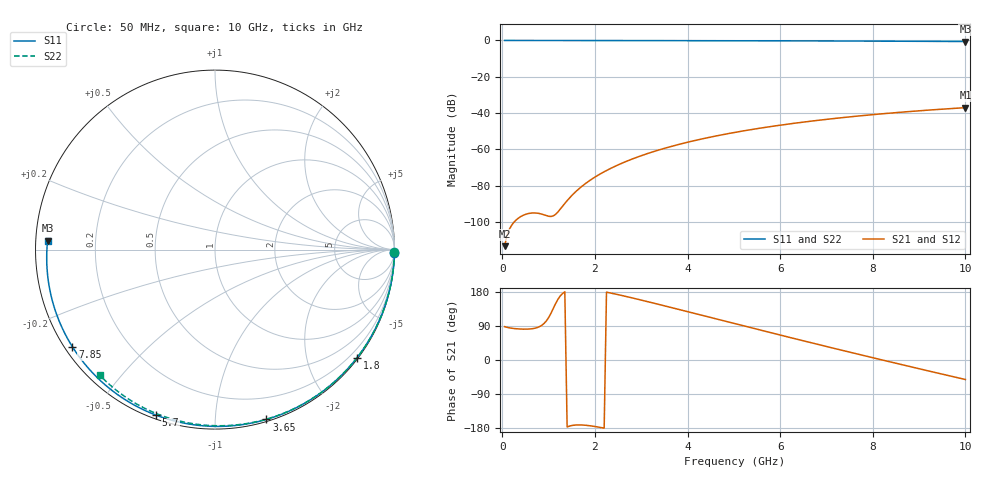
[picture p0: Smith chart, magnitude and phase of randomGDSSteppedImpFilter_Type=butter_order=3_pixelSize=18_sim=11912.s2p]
! freq	dB(S11)	phase(S11)	dB(S12)	phase(S12)
!  dB(S21)	phase(S21)	dB(S22)	phase(S22)
!S-par simulation data
#  GHz  S  DB  R 50
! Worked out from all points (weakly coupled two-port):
!   200 points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, 50 MHz to 10 GHz, reference 50 ohm
!   highest |S21| = -37.02 dB at 10 GHz (marker M1); lowest = -113.3 dB at 50 MHz (marker M2)
!   lowest |S11| = -0.6 dB at 10 GHz (marker M3), VSWR 29.34, Z = 1.71 + j1.34 ohm
!   |S11| at or under -10 dB: nowhere
!   |S22| runs from -0.4 to 0.0 dB; largest |S21 - S12| = 0
!   S11 on the Smith chart (normalised r, x): 50 MHz: open; 1.8 GHz: 0.03, -2.97; 3.65 GHz: 0.02, -1.35; 5.7 GHz: 0.02, -0.70; 7.85 GHz: 0.02, -0.31; 10 GHz: 0.03, +0.03
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0.05  -0.00 -1.1  -113.30 88.0  -113.30 88.0  -0.00 -0.8
0.45  -0.01 -9.5  -96.31 81.5  -96.31 81.5  -0.01 -6.9
0.85  -0.02 -17.8  -95.63 91.3  -95.63 91.3  -0.02 -12.9
1.25  -0.03 -26.1  -92.98 168.8  -92.98 168.8  -0.02 -19.0
1.7  -0.04 -35.2  -80.73 -171.4  -80.73 -171.4  -0.03 -25.7
1.75  -0.05 -36.2  -79.71 -171.7  -79.71 -171.7  -0.03 -26.4
1.8  -0.05 -37.2  -78.74 -172.2  -78.74 -172.2  -0.03 -27.1
2.1  -0.06 -43.3  -73.74 -177.5  -73.74 -177.5  -0.04 -31.6
2.5  -0.07 -51.2  -68.54 172.5  -68.54 172.5  -0.05 -37.4
2.9  -0.08 -58.9  -64.39 161.1  -64.39 161.1  -0.06 -43.2
3.4  -0.09 -68.5  -60.17 146.1  -60.17 146.1  -0.07 -50.3
3.65  -0.10 -73.2  -58.35 138.4  -58.35 138.4  -0.07 -53.8
4.35  -0.12 -86.0  -54.01 116.8  -54.01 116.8  -0.09 -63.4
5.05  -0.15 -98.4  -50.51 95.0  -50.51 95.0  -0.11 -72.7
5.7  -0.18 -109.6  -47.78 75.0  -47.78 75.0  -0.13 -81.2
6.2  -0.21 -118.1  -45.97 59.8  -45.97 59.8  -0.16 -87.5
6.7  -0.25 -126.5  -44.34 44.6  -44.34 44.6  -0.18 -93.7
7.3  -0.29 -136.5  -42.62 26.7  -42.62 26.7  -0.21 -101.0
7.85  -0.34 -145.7  -41.21 10.4  -41.21 10.4  -0.25 -107.6
8.35  -0.39 -154.1  -40.07 -4.2  -40.07 -4.2  -0.29 -113.5
9.2  -0.49 -168.7  -38.36 -28.8  -38.36 -28.8  -0.36 -123.3
10  -0.59 176.9  -37.02 -51.5  -37.02 -51.5  -0.45 -132.4
